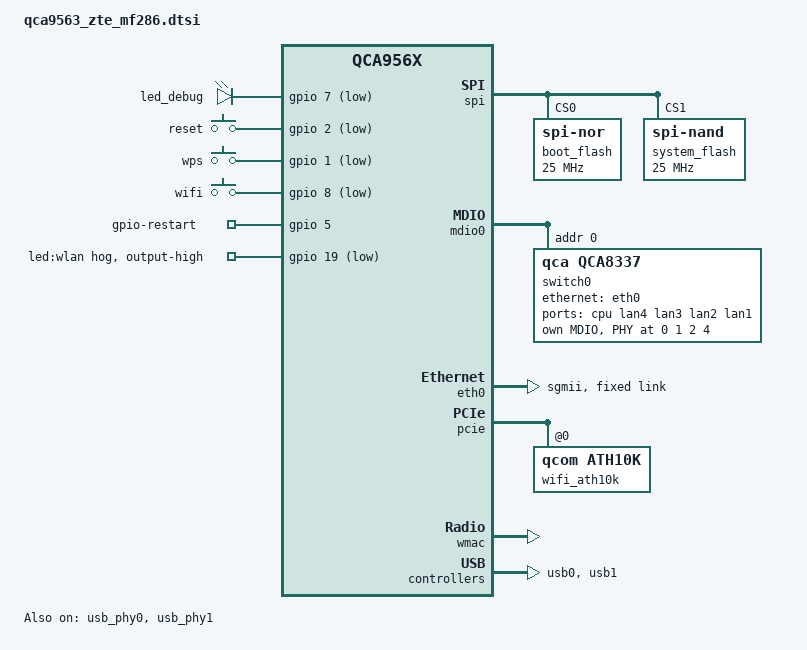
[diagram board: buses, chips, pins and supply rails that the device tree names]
// SPDX-License-Identifier: GPL-2.0-or-later OR MIT
// Copyright (c) 2021 Cezary Jackiewicz
// Copyright (c) 2021, 2022 Lech Perczak
#include "qca956x.dtsi"

#include <dt-bindings/gpio/gpio.h>
#include <dt-bindings/input/input.h>
#include <dt-bindings/leds/common.h>

/ {
	aliases {
		led-boot = &led_debug;
		led-failsafe = &led_debug;
		led-running = &led_debug;
		led-upgrade = &led_debug;
		label-mac-device = &eth0;
	};

	leds {
		compatible = "gpio-leds";

		/* Hidden SMD LED below signal strength LEDs.
		 * Visible through slits underside of the case,
		 * and slightly through the case below signal state LEDs
		 */
		led_debug: led-0 {
			function = LED_FUNCTION_DEBUG;
			gpios = <&gpio 7 GPIO_ACTIVE_LOW>;
			default-state = "on";
		};
	};

	keys {
		compatible = "gpio-keys";

		reset {
			label = "reset";
			linux,code = <KEY_RESTART>;
			gpios = <&gpio 2 GPIO_ACTIVE_LOW>;
			debounce-interval = <60>;
		};

		wps {
			label = "wps";
			linux,code = <KEY_WPS_BUTTON>;
			gpios = <&gpio 1 GPIO_ACTIVE_LOW>;
			debounce-interval = <60>;
		};

		wifi {
			label = "wifi";
			linux,code = <KEY_RFKILL>;
			gpios = <&gpio 8 GPIO_ACTIVE_LOW>;
			debounce-interval = <60>;
		};
	};

	/* This GPIO is used to reset whole board _including_ the modem */
	gpio-restart {
		compatible = "gpio-restart";
		gpios = <&gpio 5 GPIO_ACTIVE_HIGH>;
		active-delay = <3000>;
		inactive-delay = <1000>;
	};
};

&gpio {
	/* GPIO19 is used as a mask to enable WLAN LED
	 * in stock firmware, which is controlled directly
	 * by 5GHz Wi-Fi chip, which currently is inactive
	 * in OpenWrt
	 */
	led-wlan {
		gpio-hog;
		gpios = <19 GPIO_ACTIVE_LOW>;
		output-high;
		line-name = "led:wlan";
	};
};

&spi {
	status = "okay";

	boot_flash: flash@0 {
		compatible = "jedec,spi-nor";
		reg = <0>;
		spi-max-frequency = <25000000>;

		partitions {
			compatible = "fixed-partitions";
			#address-cells = <1>;
			#size-cells = <1>;
		};
	};

	system_flash: flash@1 {
		compatible = "spi-nand";
		reg = <1>;
		spi-max-frequency = <25000000>;

		partitions {
			compatible = "fixed-partitions";
			#address-cells = <1>;
			#size-cells = <1>;
		};
	};
};

&mdio0 {
	status = "okay";

	phy-mask = <0>;
	switch0@0 {
		compatible = "qca,qca8337";
		#address-cells = <1>;
		#size-cells = <0>;

		reg = <0>;
		qca,sgmii-rxclk-falling-edge;
		ports {
			#address-cells = <1>;
			#size-cells = <0>;
			port@0 {
				reg = <0>;
				label = "cpu";
				ethernet = <&eth0>;
				phy-mode = "sgmii";
				qca,sgmii-disable-pll;

				fixed-link {
					speed = <1000>;
					full-duplex;
				};
			};

			port@1 {
				reg = <1>;
				label = "lan4";
				phy-mode = "internal";
				phy-handle = <&phy_port1>;
			};

			port@2 {
				reg = <2>;
				label = "lan3";
				phy-mode = "internal";
				phy-handle = <&phy_port2>;
			};

			port@3 {
				reg = <3>;
				label = "lan2";
				phy-mode = "internal";
				phy-handle = <&phy_port3>;
			};

			port@5 {
				reg = <5>;
				label = "lan1";
				phy-mode = "internal";
				phy-handle = <&phy_port5>;
			};
		};

		mdio {
			#address-cells = <1>;
			#size-cells = <0>;

			phy_port1: phy@0 {
				reg = <0>;

				leds {
					#address-cells = <1>;
					#size-cells = <0>;

					led@0 {
						reg = <0>;
						default-state = "keep";
						color = <LED_COLOR_ID_GREEN>;
						function = LED_FUNCTION_LAN;
						function-enumerator = <4>;
						qca,led_rules = "tx-blink", "rx-blink", "link-10M", "link-100M", "link-1000M", "half-duplex", "full-duplex", "linkup-over", "blink-auto";
					};
				};
			};

			phy_port2: phy@1 {
				reg = <1>;

				leds {
					#address-cells = <1>;
					#size-cells = <0>;

					led@0 {
						reg = <0>;
						default-state = "keep";
						color = <LED_COLOR_ID_GREEN>;
						function = LED_FUNCTION_LAN;
						function-enumerator = <3>;
						qca,led_rules = "tx-blink", "rx-blink", "link-10M", "link-100M", "link-1000M", "half-duplex", "full-duplex", "linkup-over", "blink-auto";
					};
				};
			};

			phy_port3: phy@2 {
				reg = <2>;

				leds {
					#address-cells = <1>;
					#size-cells = <0>;

					led@0 {
						reg = <0>;
						default-state = "keep";
						color = <LED_COLOR_ID_GREEN>;
						function = LED_FUNCTION_LAN;
						function-enumerator = <2>;
						qca,led_rules = "tx-blink", "rx-blink", "link-10M", "link-100M", "link-1000M", "half-duplex", "full-duplex", "linkup-over", "blink-auto";
					};
				};
			};

			phy_port5: phy@4 {
				reg = <4>;

				leds {
					#address-cells = <1>;
					#size-cells = <0>;

					led@0 {
						reg = <0>;
						default-state = "keep";
						color = <LED_COLOR_ID_GREEN>;
						function = LED_FUNCTION_LAN;
						function-enumerator = <1>;
						qca,led_rules = "tx-blink", "rx-blink", "link-10M", "link-100M", "link-1000M", "half-duplex", "full-duplex", "linkup-over", "blink-auto";
					};
				};
			};
		};
	};
};

&eth0 {
	status = "okay";

	phy-mode = "sgmii";

	fixed-link {
		speed = <1000>;
		full-duplex;
	};
};

&pcie {
	status = "okay";

	wifi_ath10k: wifi@0,0 {
		compatible = "qcom,ath10k";
		reg = <0x0 0 0 0 0>;
	};
};

&wmac {
	status = "okay";
};

&usb_phy0 {
	status = "okay";
};

&usb0 {
	status = "okay";
};

&usb_phy1 {
	status = "okay";
};

&usb1 {
	status = "okay";
};
